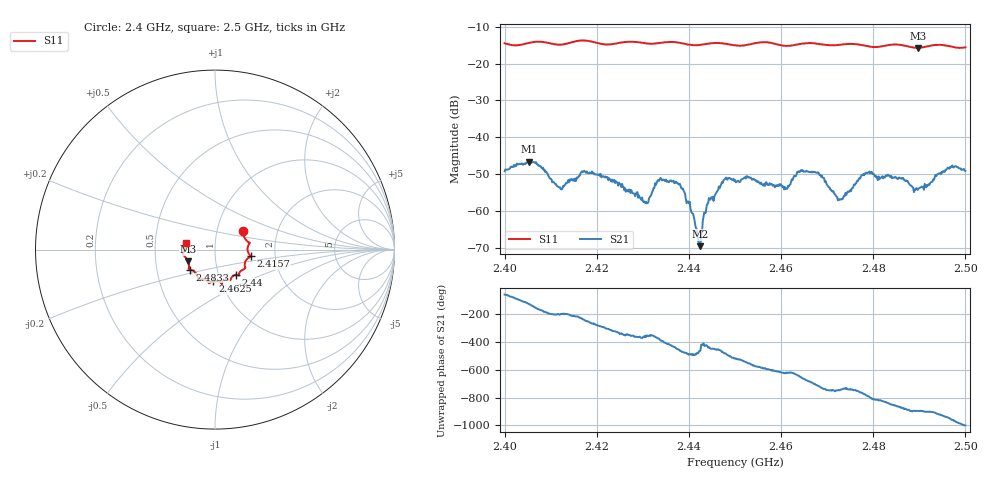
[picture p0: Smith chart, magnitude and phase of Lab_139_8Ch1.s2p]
# Hz S RI R 50
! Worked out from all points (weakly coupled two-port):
!   601 points, 2.4 GHz to 2.5 GHz, reference 50 ohm
!   highest |S21| = -46.65 dB at 2.4053 GHz (marker M1); lowest = -69.6 dB at 2.4423 GHz (marker M2)
!   lowest |S11| = -15.7 dB at 2.4897 GHz (marker M3), VSWR 1.39, Z = 36.7 - j4.92 ohm
!   |S11| at or under -10 dB: start of sweep to end of sweep
!   S12 and S22 are empty: the file has one direction only
!   S11 on the Smith chart (normalised r, x): 2.4 GHz: 1.33, +0.29; 2.4157 GHz: 1.49, -0.12; 2.44 GHz: 1.21, -0.35; 2.4625 GHz: 0.92, -0.34; 2.4833 GHz: 0.74, -0.17; 2.5 GHz: 0.72, +0.06
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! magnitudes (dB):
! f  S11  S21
! 2.4 GHz  -14.5  -49.2
! 2.4053 GHz  -14.4  -46.6
! 2.412 GHz  -14.8  -53.6
! 2.4157 GHz  -13.9  -51.0
! 2.4167 GHz  -13.7  -49.5
! 2.4307 GHz  -14.5  -57.5
! 2.4333 GHz  -14.4  -51.7
! 2.4377 GHz  -14.3  -52.7
! 2.44 GHz  -14.8  -58.0
! 2.4423 GHz  -14.9  -69.6
! 2.4443 GHz  -14.5  -56.6
! 2.4477 GHz  -14.6  -51.6
! 2.45 GHz  -15.0  -51.6
! 2.4608 GHz  -15.2  -53.5
! 2.4625 GHz  -15.0  -51.7
! 2.4667 GHz  -14.4  -49.4
! 2.4728 GHz  -14.9  -57.0
! 2.478 GHz  -15.1  -50.4
! 2.4833 GHz  -14.9  -50.4
! 2.4897 GHz  -15.7  -54.3
! 2.4967 GHz  -15.3  -48.1
! 2.5 GHz  -15.6  -49.2
